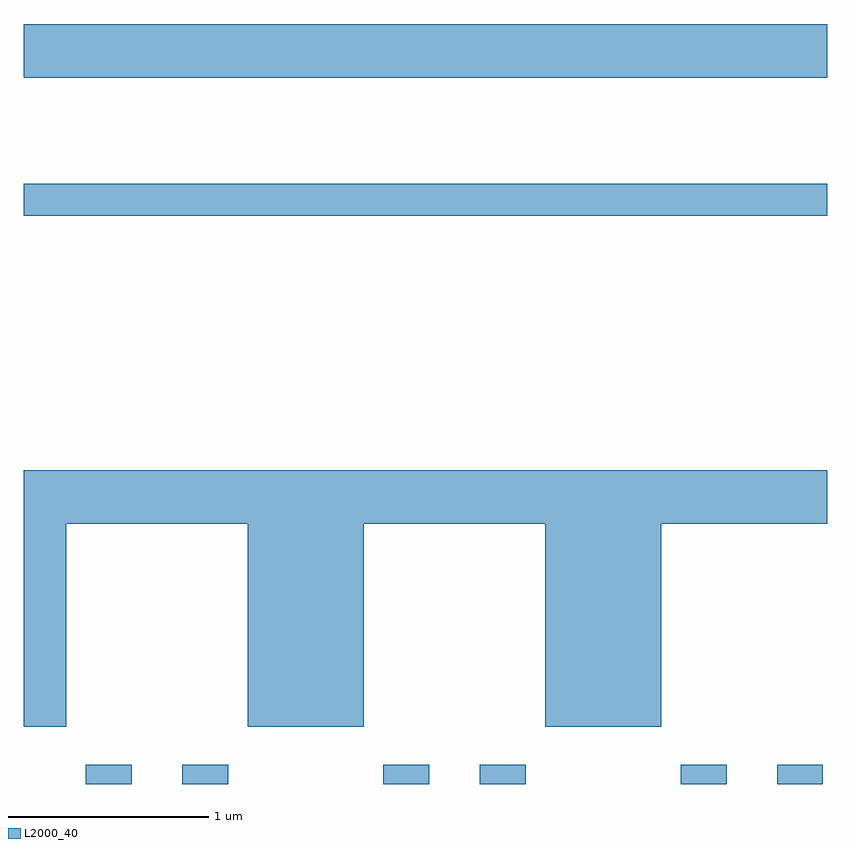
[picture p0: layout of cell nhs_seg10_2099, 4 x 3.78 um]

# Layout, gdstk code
import gdstk
lib = gdstk.Library(unit=1e-6, precision=1e-09)
def R(c, l, rs):  # rectangles x0, y0, x1, y1
    for r in rs: c.add(gdstk.rectangle(r[:2], r[2:], *l))
def P(c, l, *ps):  # polygons
    for p in ps: c.add(gdstk.Polygon(p, *l))
L2000_40 = (2000, 40)

nhs_seg10_2099 = lib.new_cell('nhs_seg10_2099')
R(nhs_seg10_2099, L2000_40, [(245.921,2212.522,246.149,2212.619), (246.401,2212.522,246.629,2212.619), (247.401,2212.522,247.629,2212.619), (247.881,2212.522,248.109,2212.619), (248.881,2212.522,249.109,2212.619), (249.361,2212.522,249.589,2212.619), (245.611,2215.351,249.611,2215.509), (245.611,2216.036,249.611,2216.304)])
P(nhs_seg10_2099, L2000_40, [(245.824,2213.816),(246.726,2213.816),(246.726,2212.806),(247.304,2212.806),(247.304,2213.816),(248.206,2213.816),(248.206,2212.806),(248.784,2212.806),(248.784,2213.816),(249.611,2213.816),(249.611,2214.084),(245.611,2214.084),(245.611,2212.806),(245.824,2212.806)])

lib.write_gds('nhs_seg10_2099.gds')
